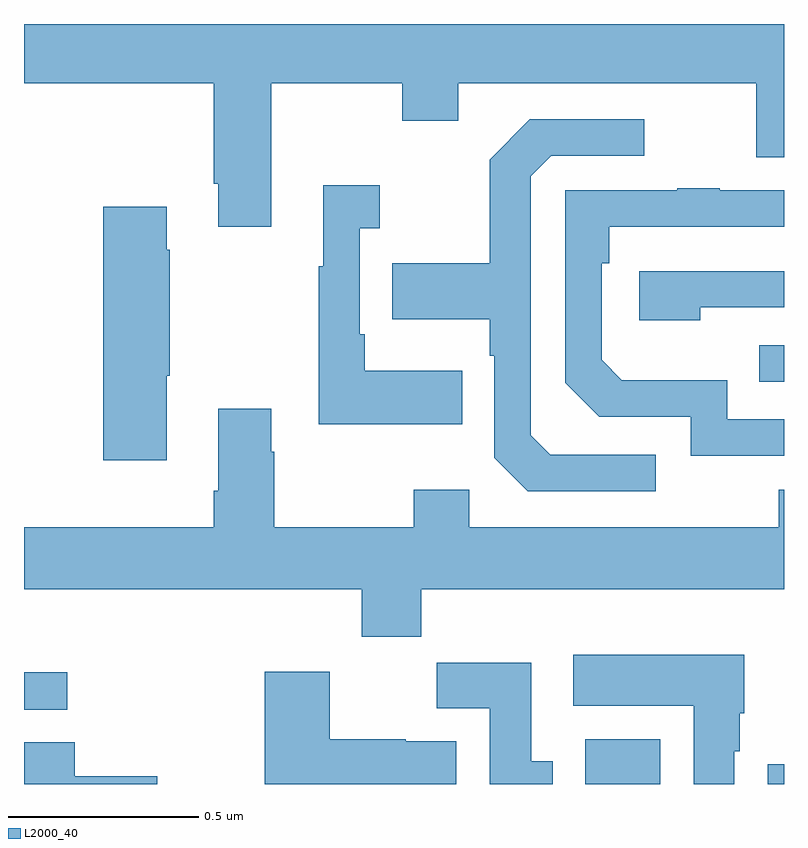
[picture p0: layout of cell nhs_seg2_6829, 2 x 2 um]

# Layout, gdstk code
import gdstk
lib = gdstk.Library(unit=1e-6, precision=1e-09)
def R(c, l, rs):  # rectangles x0, y0, x1, y1
    for r in rs: c.add(gdstk.rectangle(r[:2], r[2:], *l))
def P(c, l, *ps):  # polygons
    for p in ps: c.add(gdstk.Polygon(p, *l))
L2000_40 = (2000, 40)

nhs_seg2_6829 = lib.new_cell('nhs_seg2_6829')
R(nhs_seg2_6829, L2000_40, [(197.477,637.8,197.674,637.918), (197.957,637.8,198,637.852), (196,637.995,196.114,638.094), (197.935,638.859,198,638.955)])
P(nhs_seg2_6829, L2000_40, [(196.651,639.644),(196.996,639.644),(196.996,639.545),(197.143,639.545),(197.143,639.644),(197.927,639.644),(197.927,639.45),(198,639.45),(198,639.8),(196,639.8),(196,639.644),(196.499,639.644),(196.499,639.379),(196.511,639.379),(196.511,639.267),(196.651,639.267)],
  [(197.662,638.667),(197.385,638.667),(197.334,638.718),(197.334,639.399),(197.388,639.453),(197.632,639.453),(197.632,639.549),(197.331,639.549),(197.226,639.443),(197.226,639.171),(196.969,639.171),(196.969,639.023),(197.226,639.023),(197.226,638.927),(197.238,638.927),(197.238,638.658),(197.325,638.571),(197.662,638.571)],
  [(197.153,638.887),(196.897,638.887),(196.897,638.983),(196.884,638.983),(196.884,639.263),(196.936,639.263),(196.936,639.376),(196.787,639.376),(196.787,639.163),(196.776,639.163),(196.776,638.747),(197.153,638.747)],
  [(198,638.76),(197.85,638.76),(197.85,638.863),(197.573,638.863),(197.52,638.916),(197.52,639.17),(197.54,639.17),(197.54,639.267),(198,639.267),(198,639.363),(197.831,639.363),(197.831,639.368),(197.719,639.368),(197.719,639.363),(197.424,639.363),(197.424,638.856),(197.514,638.766),(197.754,638.766),(197.754,638.664),(198,638.664)],
  [(196.375,638.875),(196.383,638.875),(196.383,639.206),(196.375,639.206),(196.375,639.319),(196.208,639.319),(196.208,638.652),(196.375,638.652)],
  [(197.78,639.054),(198,639.054),(198,639.15),(197.619,639.15),(197.619,639.02),(197.78,639.02)],
  [(197.045,638.312),(198,638.312),(198,638.575),(197.986,638.575),(197.986,638.476),(197.172,638.476),(197.172,638.575),(197.026,638.575),(197.026,638.476),(196.659,638.476),(196.659,638.675),(196.651,638.675),(196.651,638.788),(196.511,638.788),(196.511,638.572),(196.499,638.572),(196.499,638.476),(196,638.476),(196,638.312),(196.889,638.312),(196.889,638.188),(197.045,638.188)],
  [(197.869,637.886),(197.884,637.886),(197.884,637.986),(197.896,637.986),(197.896,638.14),(197.445,638.14),(197.445,638.006),(197.762,638.006),(197.762,637.8),(197.869,637.8)],
  [(197.392,637.86),(197.335,637.86),(197.335,638.119),(197.086,638.119),(197.086,638),(197.225,638),(197.225,637.8),(197.392,637.8)],
  [(197.137,637.912),(197.004,637.912),(197.004,637.918),(196.804,637.918),(196.804,638.095),(196.634,638.095),(196.634,637.8),(197.137,637.8)],
  [(196.351,637.82),(196.133,637.82),(196.133,637.91),(196,637.91),(196,637.8),(196.351,637.8)])

lib.write_gds('nhs_seg2_6829.gds')
